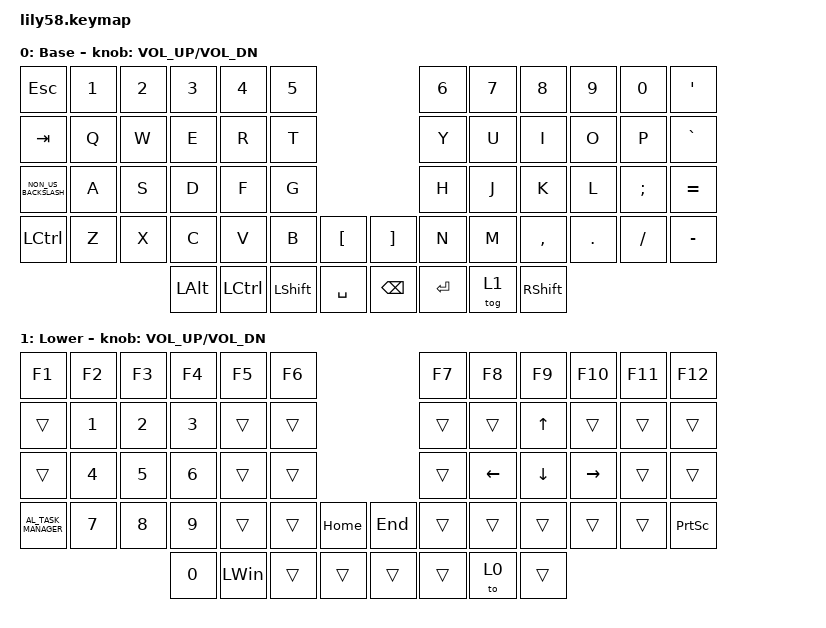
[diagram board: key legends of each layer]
/*
 * Copyright (c) 2020 The ZMK Contributors
 *
 * SPDX-License-Identifier: MIT
 */

#include <behaviors.dtsi>
#include <dt-bindings/zmk/keys.h>

/ {
    keymap {
        compatible = "zmk,keymap";

        default_layer {
            // ------------------------------------------------------------------------------------------------------------
            // |  ESC  |  1  |  2  |  3   |  4   |  5   |                   |  6   |  7    |  8    |  9   |   0   |   `   |
            // |  TAB  |  Q  |  W  |  E   |  R   |  T   |                   |  Y   |  U    |  I    |  O   |   P   |   -   |
            // |  CTRL |  A  |  S  |  D   |  F   |  G   |                   |  H   |  J    |  K    |  L   |   ;   |   '   |
            // | SHIFT |  Z  |  X  |  C   |  V   |  B   |   "["  |  |  "]"  |  N   |  M    |  ,    |  .   |   /   | SHIFT |
            //                     | ALT  | GUI  | LOWER|  SPACE |  | ENTER | RAISE| BSPC  | GUI   |

            display-name = "Base";
            bindings = <
&kp ESC               &kp N1  &kp N2  &kp N3    &kp N4            &kp N5                                      &kp N6     &kp N7  &kp N8           &kp N9   &kp N0    &kp SQT
&kp TAB               &kp Q   &kp W   &kp E     &kp R             &kp T                                       &kp Y      &kp U   &kp I            &kp O    &kp P     &kp GRAVE
&kp NON_US_BACKSLASH  &kp A   &kp S   &kp D     &kp F             &kp G                                       &kp H      &kp J   &kp K            &kp L    &kp SEMI  &kp EQUAL
&kp LEFT_CONTROL      &kp Z   &kp X   &kp C     &kp V             &kp B           &kp LBKT     &kp RBKT       &kp N      &kp M   &kp COMMA        &kp DOT  &kp FSLH  &kp MINUS
                                      &kp LALT  &kp LEFT_CONTROL  &kp LEFT_SHIFT  &kp SPACE    &kp BACKSPACE  &kp ENTER  &tog 1  &kp RIGHT_SHIFT
            >;

            sensor-bindings = <&inc_dec_kp C_VOL_UP C_VOL_DN>;
        };

        lower_layer {
            // ------------------------------------------------------------------------------------------------------------
            // | BTCLR | BT1 | BT2 |  BT3 |  BT4 |  BT5 |                   |      |       |       |      |       |       |
            // |  F1   |  F2 |  F3 |  F4  |  F5  |  F6  |                   |  F7  |  F8   |  F9   |  F10 |  F11  |  F12  |
            // |   `   |  !  |  @  |  #   |  $   |  %   |                   |  ^   |  &    |  *    |  (   |   )   |   ~   |
            // |       |     |     |      |      |      |        |  |       |      |  _    |  +    |  {   |   }   |  "|"  |
            //                     |      |      |      |        |  |       |      |       |       |

            display-name = "Lower";
            bindings = <
&kp F1                 &kp F2        &kp F3        &kp F4        &kp F5        &kp F6                       &kp F7  &kp F8          &kp F9          &kp F10          &kp F11  &kp F12
&trans                 &kp NUMBER_1  &kp NUMBER_2  &kp NUMBER_3  &trans        &trans                       &trans  &trans          &kp UP_ARROW    &trans           &trans   &trans
&trans                 &kp NUMBER_4  &kp N5        &kp NUMBER_6  &trans        &trans                       &trans  &kp LEFT_ARROW  &kp DOWN_ARROW  &kp RIGHT_ARROW  &trans   &trans
&kp C_AL_TASK_MANAGER  &kp N7        &kp NUMBER_8  &kp NUMBER_9  &trans        &trans  &kp HOME    &kp END  &trans  &trans          &trans          &trans           &trans   &kp PRINTSCREEN
                                                   &kp NUMBER_0  &kp LEFT_WIN  &trans  &trans      &trans   &trans  &to 0           &trans
            >;

            sensor-bindings = <&inc_dec_kp C_VOL_UP C_VOL_DN>;
        };
    };
};
